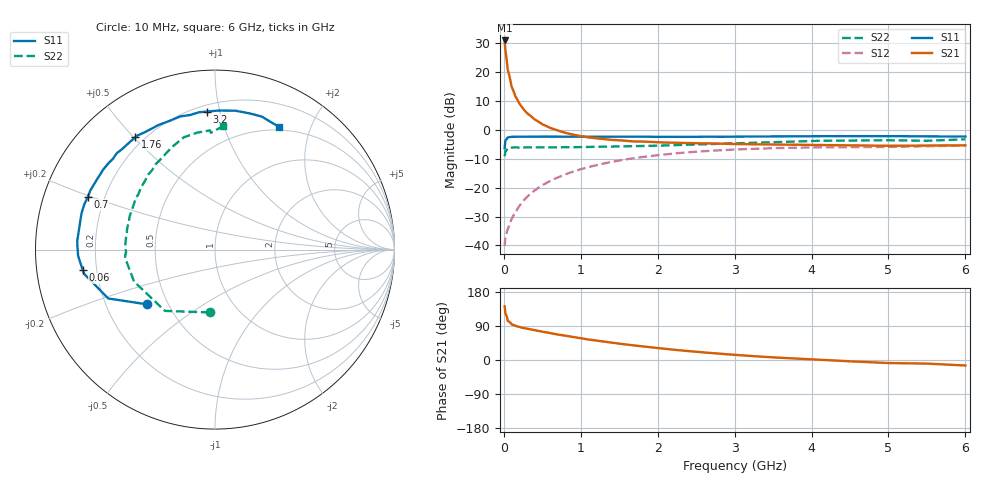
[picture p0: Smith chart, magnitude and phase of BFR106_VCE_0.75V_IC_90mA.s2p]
! Infineon Technologies  Discrete & RF Semiconductors
! BFR106
! VCE = 0.75 V,  IC =  90 mA
! Common Emitter S-Parameters:  Nov 2015
# GHz  S  MA  R  50
!  f  S11  S21  S12  S22
! GHz  MAG  ANG  MAG  ANG  MAG  ANG  MAG  ANG
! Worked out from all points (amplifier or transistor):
!   210 points, 10 MHz to 6 GHz, reference 50 ohm
!   highest |S21| = 31.0 dB at 10 MHz (marker M1)
!   |S21| within 3 dB of that: start of sweep to 19.05 MHz
!   unconditionally stable (mu >= 1): start of sweep to 14.68 MHz; 38.34 MHz to end of sweep
!   at 185 MHz: K = 1.50, MAG = 14.3 dB, |S12| = -27.0 dB
!   at 1.52 GHz: K = 1.26, MAG = 0.4 dB, |S12| = -10.5 dB
!   at 6 GHz: K = 1.04, MAG = -1.2 dB, |S12| = -5.4 dB
!   S11 on the Smith chart (normalised r, x): 10 MHz: 0.38, -0.31; 60 MHz: 0.15, -0.08; 700 MHz: 0.14, +0.20; 1.76 GHz: 0.17, +0.50; 3.2 GHz: 0.24, +0.91; 6 GHz: 0.46, +1.56
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0.01  0.4851 -141.0  35.68 141.9  0.0097 53.5  0.3513 -94.9
0.02  0.6541 -155.4  24.33 122.4  0.014 45.4  0.4407 -129.2
0.05  0.7425 -169.6  11.09 103.3  0.019 47.5  0.4847 -158.4
0.06  0.7456 -171.2  9.996 102.3  0.0208 50.4  0.485 -161.0
0.1  0.7635 -177.4  5.689 94.2  0.0284 58.0  0.4959 -171.1
0.15  0.7671 178.7  3.834 90.1  0.0376 64.0  0.5024 -175.6
0.2  0.7688 176.1  2.906 87.0  0.0478 67.7  0.4957 -178.6
0.24  0.7674 174.4  2.445 85.1  0.0563 68.9  0.4986 179.4
0.26  0.7669 173.6  2.257 84.2  0.0605 69.2  0.4995 178.6
0.3  0.7665 172.1  1.968 82.7  0.0688 69.5  0.5001 177.4
0.4  0.7672 168.1  1.529 78.5  0.0895 69.9  0.5004 174.4
0.5  0.7705 164.8  1.261 74.8  0.1101 69.1  0.5003 171.7
0.7  0.7666 157.5  0.978 67.2  0.1505 66.5  0.5025 167.5
1.02  0.7644 147.1  0.776 56.8  0.2129 60.5  0.507 160.5
1.3  0.7612 138.3  0.694 48.4  0.2629 54.6  0.5134 154.3
1.76  0.7671 125.4  0.632 36.9  0.3343 45.2  0.5264 145.0
2.02  0.7607 118.7  0.612 31.2  0.3687 39.9  0.5389 139.8
3.1  0.7701 94.9  0.569 12.1  0.4637 20.2  0.5925 119.4
3.2  0.7704 93.3  0.567 10.8  0.4685 18.7  0.5983 117.8
4.1  0.7817 80.4  0.547 0.8  0.4998 6.0  0.6506 104.2
5.1  0.7831 69.7  0.534 -8.3  0.5122 -4.3  0.6622 92.4
6  0.7716 62.3  0.543 -14.5  0.5379 -12.1  0.6899 86.1
